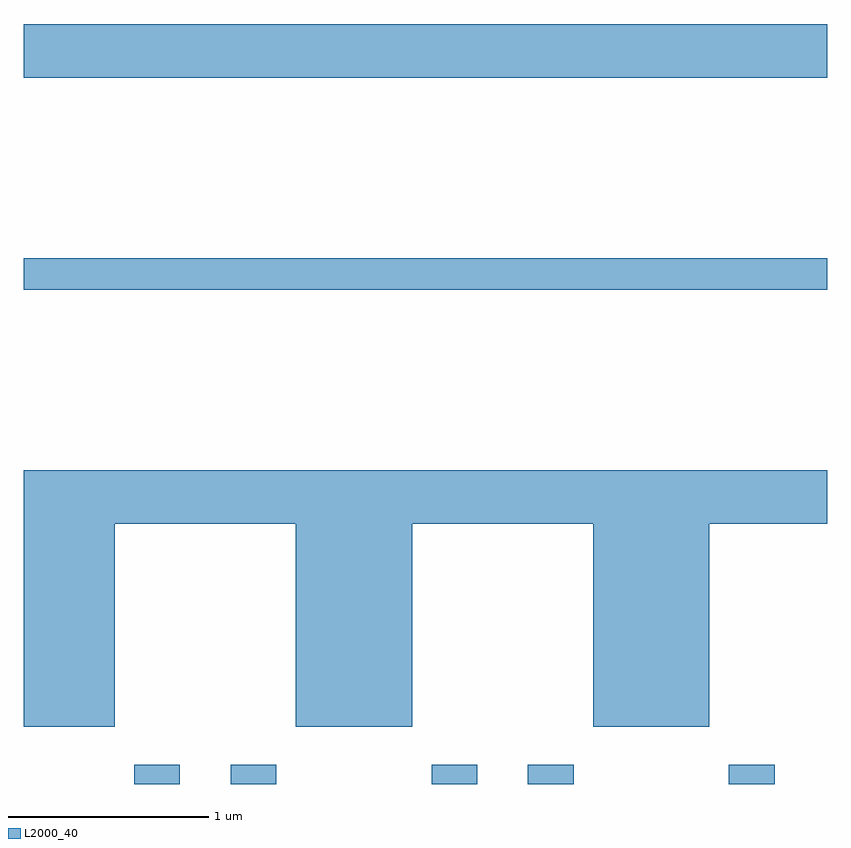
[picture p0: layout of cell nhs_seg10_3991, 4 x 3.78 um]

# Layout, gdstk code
import gdstk
lib = gdstk.Library(unit=1e-6, precision=1e-09)
def R(c, l, rs):  # rectangles x0, y0, x1, y1
    for r in rs: c.add(gdstk.rectangle(r[:2], r[2:], *l))
def P(c, l, *ps):  # polygons
    for p in ps: c.add(gdstk.Polygon(p, *l))
L2000_40 = (2000, 40)

nhs_seg10_3991 = lib.new_cell('nhs_seg10_3991')
R(nhs_seg10_3991, L2000_40, [(302.161,2212.522,302.389,2212.619), (302.641,2212.522,302.869,2212.619), (303.641,2212.522,303.869,2212.619), (304.121,2212.522,304.349,2212.619), (305.121,2212.522,305.349,2212.619), (301.611,2214.981,305.611,2215.139), (301.611,2216.036,305.611,2216.304)])
P(nhs_seg10_3991, L2000_40, [(302.064,2213.816),(302.966,2213.816),(302.966,2212.806),(303.544,2212.806),(303.544,2213.816),(304.446,2213.816),(304.446,2212.806),(305.024,2212.806),(305.024,2213.816),(305.611,2213.816),(305.611,2214.084),(301.611,2214.084),(301.611,2212.806),(302.064,2212.806)])

lib.write_gds('nhs_seg10_3991.gds')
